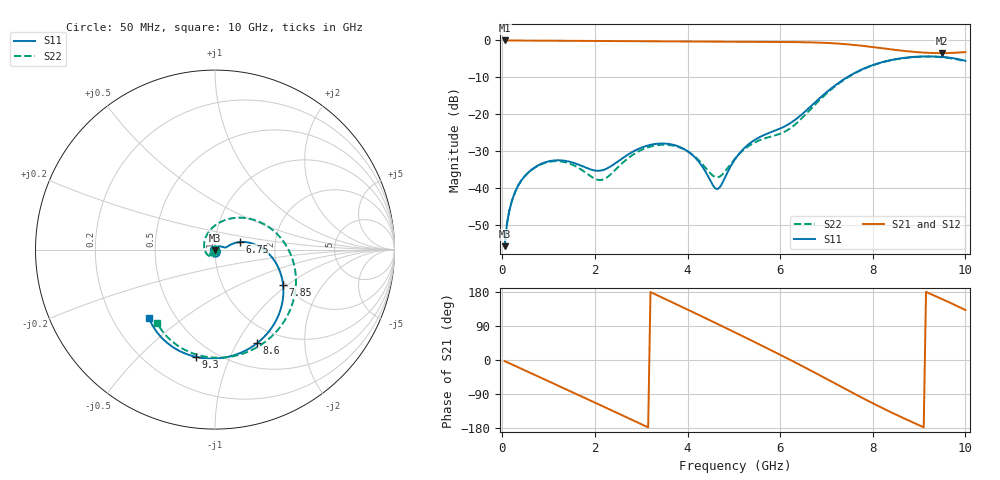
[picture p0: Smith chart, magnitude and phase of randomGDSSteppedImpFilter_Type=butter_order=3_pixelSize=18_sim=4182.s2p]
! freq	dB(S11)	phase(S11)	dB(S12)	phase(S12)
!  dB(S21)	phase(S21)	dB(S22)	phase(S22)
!S-par simulation data
#  GHz  S  DB  R 50
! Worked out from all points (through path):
!   200 points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, 50 MHz to 10 GHz, reference 50 ohm
!   highest |S21| = 0.00 dB at 50 MHz (marker M1); lowest = -3.4 dB at 9.5 GHz (marker M2)
!   group delay of S21, straight-line fit = 165 ps
!   lowest |S11| = -55.8 dB at 50 MHz (marker M3), VSWR 1.00, Z = 50 - j0.162 ohm
!   |S11| at or under -10 dB: start of sweep to 7.444 GHz
!   |S22| runs from -55.8 to -4.4 dB; largest |S21 - S12| = 0
!   S11 on the Smith chart (normalised r, x): 50 MHz: 1.00, -0.00; 6.75 GHz: 1.31, +0.11; 7.85 GHz: 1.93, -0.92; 8.6 GHz: 0.78, -1.22; 9.3 GHz: 0.40, -0.76; 10 GHz: 0.36, -0.38
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0.05  -55.78 -93.5  -0.00 -2.8  -0.00 -2.8  -55.75 -92.6
0.1  -49.77 -96.9  -0.00 -5.7  -0.00 -5.7  -49.75 -95.2
0.2  -43.81 -104.0  -0.01 -11.3  -0.01 -11.3  -43.81 -100.5
0.55  -35.95 -129.3  -0.04 -30.9  -0.04 -30.9  -36.00 -118.8
1.2  -32.48 -176.6  -0.08 -67.3  -0.08 -67.3  -32.73 -145.5
1.75  -34.20 127.1  -0.11 -98.3  -0.11 -98.3  -35.39 -154.3
2.15  -35.23 62.4  -0.14 -120.9  -0.14 -120.9  -37.80 -126.3
2.65  -31.45 -10.9  -0.18 -149.3  -0.18 -149.3  -32.61 -100.3
3.4  -27.95 -75.4  -0.24 167.8  -0.24 167.8  -28.32 -121.6
4.05  -30.48 -123.6  -0.28 130.2  -0.28 130.2  -30.45 -145.2
4.65  -40.30 126.9  -0.31 95.0  -0.31 95.0  -37.12 -114.5
5.05  -31.76 43.8  -0.34 71.3  -0.34 71.3  -31.66 -86.5
5.95  -24.14 11.3  -0.40 16.9  -0.40 16.9  -25.50 -158.8
6.7  -17.41 17.7  -0.53 -30.2  -0.53 -30.2  -18.07 95.5
6.75  -16.84 17.0  -0.55 -33.5  -0.55 -33.5  -17.43 89.9
7.3  -11.18 -0.5  -0.89 -69.3  -0.89 -69.3  -11.37 38.2
7.85  -7.40 -27.3  -1.56 -104.8  -1.56 -104.8  -7.48 -3.6
8.35  -5.43 -53.1  -2.36 -135.3  -2.36 -135.3  -5.49 -36.8
8.6  -4.86 -65.8  -2.73 -149.8  -2.73 -149.8  -4.91 -52.0
9.3  -4.34 -99.9  -3.40 171.5  -3.40 171.5  -4.41 -91.0
9.5  -4.47 -109.6  -3.43 160.6  -3.43 160.6  -4.56 -101.7
10  -5.52 -134.0  -3.15 131.8  -3.15 131.8  -5.69 -128.5
